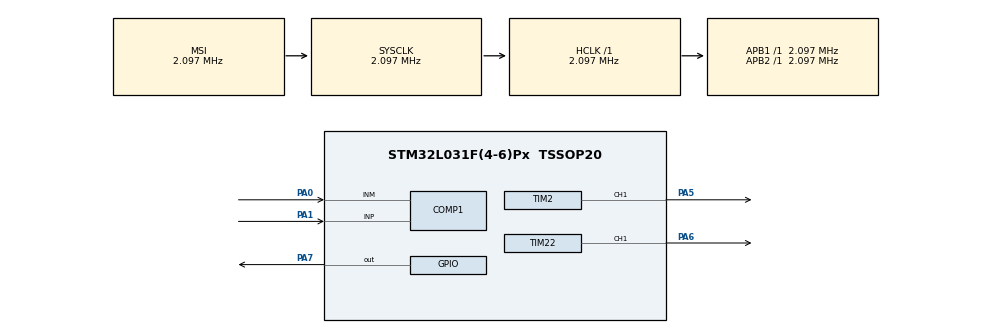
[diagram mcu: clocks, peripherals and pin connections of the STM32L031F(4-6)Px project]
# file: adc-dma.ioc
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ADC.ClockPrescaler=ADC_CLOCK_SYNC_PCLK_DIV2
ADC.ContinuousConvMode=ENABLE
ADC.DMAContinuousRequests=ENABLE
ADC.Overrun=ADC_OVR_DATA_OVERWRITTEN
ADC.SamplingTime=ADC_SAMPLETIME_12CYCLES_5
COMP1.OutputPol=COMP_OUTPUTPOL_INVERTED
COMP1.TriggerMode=COMP_TRIGGERMODE_IT_RISING_FALLING
Dma.ADC.0.Direction=DMA_PERIPH_TO_MEMORY
Dma.ADC.0.Instance=DMA1_Channel1
Dma.ADC.0.MemDataAlignment=DMA_MDATAALIGN_HALFWORD
Dma.ADC.0.MemInc=DMA_MINC_ENABLE
Dma.ADC.0.Mode=DMA_CIRCULAR
Dma.ADC.0.PeriphDataAlignment=DMA_PDATAALIGN_HALFWORD
Dma.ADC.0.PeriphInc=DMA_PINC_DISABLE
Dma.ADC.0.Priority=DMA_PRIORITY_MEDIUM
Dma.Request0=ADC
Mcu.Family=STM32L0
Mcu.Name=STM32L031F(4-6)Px
Mcu.Package=TSSOP20
NVIC.ADC1_COMP_IRQn=true\:0\:0\:false\:false\:true\:true\:true
NVIC.DMA1_Channel1_IRQn=true\:0\:0\:false\:false\:true\:false\:true
PA0-CK_IN.Signal=SharedAnalog_PA0
PA1.Signal=SharedAnalog_PA1
PA13.Mode=Serial_Wire
PA13.Signal=SYS_SWDIO
PA14.Mode=Serial_Wire
PA14.Signal=SYS_SWCLK
PA5.Signal=S_TIM2_CH1
PA6.Signal=S_TIM22_CH1
PA7.Signal=GPIO_Output
ProjectManager.HeapSize=0x200
ProjectManager.StackSize=0x400
ProjectManager.TargetToolchain=STM32CubeIDE
RCC.AHBFreq_Value=2097000
RCC.APB1Freq_Value=2097000
RCC.APB1TimFreq_Value=2097000
RCC.APB2Freq_Value=2097000
RCC.APB2TimFreq_Value=2097000
RCC.HSE_VALUE=8000000
RCC.HSI16_VALUE=16000000
RCC.HSI_VALUE=16000000
RCC.LSE_VALUE=32768
RCC.MSI_VALUE=2097000
RCC.SYSCLKFreq_VALUE=2097000
RCC.VCOOutputFreq_Value=48000000
SH.S_TIM22_CH1.0=TIM22_CH1,PWM Generation1 CH1
SH.S_TIM2_CH1.0=TIM2_CH1,PWM Generation1 CH1
SH.SharedAnalog_PA0.0=COMP1_INM,INM
SH.SharedAnalog_PA0.1=ADC_IN0,IN0
SH.SharedAnalog_PA1.0=COMP1_INP,INP
SH.SharedAnalog_PA1.1=ADC_IN1,IN1
TIM2.Channel-PWM\ Generation1\ CH1=TIM_CHANNEL_1
TIM2.Period=4095
TIM22.Channel-PWM\ Generation1\ CH1=TIM_CHANNEL_1
TIM22.Period=4095
board=custom

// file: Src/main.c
/* USER CODE BEGIN Header */
/**
  ******************************************************************************
  * @file           : main.c
  * @brief          : Main program body
  ******************************************************************************
  * @attention
  *
  * <h2><center>&copy; Copyright (c) 2019 STMicroelectronics.
  * All rights reserved.</center></h2>
  *
  * This software component is licensed by ST under BSD 3-Clause license,
  * the "License"; You may not use this file except in compliance with the
  * License. You may obtain a copy of the License at:
  *                        opensource.org/licenses/BSD-3-Clause
  *
  ******************************************************************************
  */
/* USER CODE END Header */

#include "main.h"
#include "adc.h"
#include "comp.h"
#include "dma.h"
#include "tim.h"
#include "gpio.h"

/* USER CODE BEGIN PD */

  /* Definition of ADCx conversions data table size */
  #define ADC_CONVERTED_DATA_BUFFER_SIZE   ((uint32_t)  32)   /* Size of array aADCxConvertedData[] */
  #define ADC_CHANNEL_BUFFER_SIZE          (ADC_CONVERTED_DATA_BUFFER_SIZE / 2) /* Data from 2 channels goe in the buffer */

/* USER CODE END PD */

/* USER CODE BEGIN PV */

/* Variable containing ADC conversions data */
static uint16_t aADCxConvertedData[ADC_CONVERTED_DATA_BUFFER_SIZE];
static uint16_t avgPA0;
static uint16_t avgPA1;
/* The comparator sets/resets this variable when comparing PA0 & PA1 */
volatile uint8_t comp = 0;

/* USER CODE END PV */

void SystemClock_Config(void);

int main(void)
{

  /* MCU Configuration--------------------------------------------------------*/

  /* Reset of all peripherals, Initializes the Flash interface and the Systick. */
  HAL_Init();

  /* Configure the system clock */
  SystemClock_Config();

  /* Initialize all configured peripherals */
  MX_GPIO_Init();
  MX_DMA_Init();
  MX_ADC_Init();
  MX_COMP1_Init();
  MX_TIM2_Init();
  MX_TIM22_Init();
  /* USER CODE BEGIN 2 */

  if (HAL_ADCEx_Calibration_Start(&hadc, ADC_SINGLE_ENDED) !=  HAL_OK)
  {
    Error_Handler();
  }

  HAL_COMP_Start(&hcomp1);

  HAL_TIM_PWM_Start(&htim2, TIM_CHANNEL_1);
  HAL_TIM_PWM_Start(&htim22, TIM_CHANNEL_1);

  /* Start conversion in DMA mode ################################# */
  if (HAL_ADC_Start_DMA(&hadc,
                        (uint32_t *)aADCxConvertedData,
                        ADC_CONVERTED_DATA_BUFFER_SIZE
                       ) != HAL_OK)
  {
    Error_Handler();
  }

  /* USER CODE END 2 */

  /* Infinite loop */
  while (1)
  {

    /* USER CODE BEGIN 3 */

	  uint32_t tmpAvgPA0 = 0;
	  uint32_t tmpAvgPA1 = 0;
	  uint16_t i = 0;
	  while (i < ADC_CONVERTED_DATA_BUFFER_SIZE) {
		  /* PA0 is in the even numbered indexes */
		  tmpAvgPA0 += aADCxConvertedData[i];
		  i++;
		  /* PA1 is in the odd numbered indexes */
		  tmpAvgPA1 += aADCxConvertedData[i];
		  i++;
	  }
	  // Use the average.
 	  avgPA0 = tmpAvgPA0 / ADC_CHANNEL_BUFFER_SIZE;
 	  avgPA1 = tmpAvgPA1 / ADC_CHANNEL_BUFFER_SIZE;

 	 htim2.Instance->CCR1 = avgPA0;
 	 htim22.Instance->CCR1 = avgPA1;
  }
  /* USER CODE END 3 */
}

void SystemClock_Config(void)
{
  RCC_OscInitTypeDef RCC_OscInitStruct = {0};
  RCC_ClkInitTypeDef RCC_ClkInitStruct = {0};

  /** Configure the main internal regulator output voltage
  */
  __HAL_PWR_VOLTAGESCALING_CONFIG(PWR_REGULATOR_VOLTAGE_SCALE1);
  /** Initializes the CPU, AHB and APB busses clocks
  */
  RCC_OscInitStruct.OscillatorType = RCC_OSCILLATORTYPE_MSI;
  RCC_OscInitStruct.MSIState = RCC_MSI_ON;
  RCC_OscInitStruct.MSICalibrationValue = 0;
  RCC_OscInitStruct.MSIClockRange = RCC_MSIRANGE_5;
  RCC_OscInitStruct.PLL.PLLState = RCC_PLL_NONE;
  if (HAL_RCC_OscConfig(&RCC_OscInitStruct) != HAL_OK)
  {
    Error_Handler();
  }
  /** Initializes the CPU, AHB and APB busses clocks
  */
  RCC_ClkInitStruct.ClockType = RCC_CLOCKTYPE_HCLK|RCC_CLOCKTYPE_SYSCLK
                              |RCC_CLOCKTYPE_PCLK1|RCC_CLOCKTYPE_PCLK2;
  RCC_ClkInitStruct.SYSCLKSource = RCC_SYSCLKSOURCE_MSI;
  RCC_ClkInitStruct.AHBCLKDivider = RCC_SYSCLK_DIV1;
  RCC_ClkInitStruct.APB1CLKDivider = RCC_HCLK_DIV1;
  RCC_ClkInitStruct.APB2CLKDivider = RCC_HCLK_DIV1;

  if (HAL_RCC_ClockConfig(&RCC_ClkInitStruct, FLASH_LATENCY_0) != HAL_OK)
  {
    Error_Handler();
  }
}

/* USER CODE BEGIN 4 */

void HAL_COMP_TriggerCallback(COMP_HandleTypeDef *hcomp) {
	if (HAL_COMP_GetOutputLevel(hcomp)) {
		comp = 1;
		HAL_GPIO_WritePin(GPIOA, GPIO_PIN_7, GPIO_PIN_SET);
	} else {
		comp = 0;
		HAL_GPIO_WritePin(GPIOA, GPIO_PIN_7, GPIO_PIN_RESET);
	}
}

/* USER CODE END 4 */

void Error_Handler(void)
{
}

/************************ (C) COPYRIGHT STMicroelectronics *****END OF FILE****/
